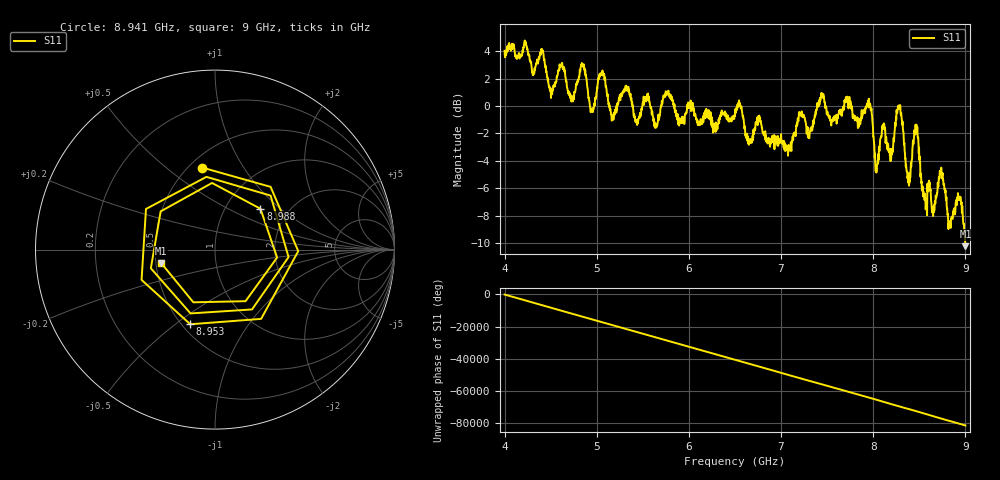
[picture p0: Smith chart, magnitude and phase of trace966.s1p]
! Created with skrf 1.8.0 (http://scikit-rf.org).
# Hz S RI R 50.0
!freq ReS11 ImS11
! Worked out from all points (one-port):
!   1601 points, 4 GHz to 9 GHz, reference 50 ohm
!   lowest |S11| = -10.2 dB at 9 GHz (marker M1), VSWR 1.89, Z = 26.7 - j4.49 ohm
!   |S11| at or under -10 dB: 8.997403 GHz to end of sweep
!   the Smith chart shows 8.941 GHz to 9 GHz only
!   S11 on the Smith chart (normalised r, x): 8.941 GHz: 0.58, +0.68; 8.953 GHz: 0.55, -0.57; 8.988 GHz: 1.45, +0.75; 9 GHz: 0.53, -0.09
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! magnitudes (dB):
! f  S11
! 4 GHz  4.0
! 4.406 GHz  4.2
! 4.506 GHz  0.9
! 4.625 GHz  3.1
! 4.728 GHz  0.5
! 4.85 GHz  3.0
! 4.947 GHz  -0.4
! 5.053 GHz  2.4
! 5.159 GHz  -0.6
! 5.25 GHz  0.8
! 5.875 GHz  -1.0
! 6.5 GHz  -0.7
! 7.125 GHz  -2.2
! 7.441 GHz  0.8
! 7.75 GHz  0.2
! 7.962 GHz  0.1
! 8.041 GHz  -4.3
! 8.2 GHz  -3.5
! 8.281 GHz  -0.2
! 8.375 GHz  -5.1
! 8.466 GHz  -1.5
! 8.559 GHz  -6.8
! 8.734 GHz  -5.0
! 8.831 GHz  -8.5
! 8.941 GHz  -6.7
! 8.953 GHz  -7.2
! 8.988 GHz  -9.4
! 9 GHz  -10.2
